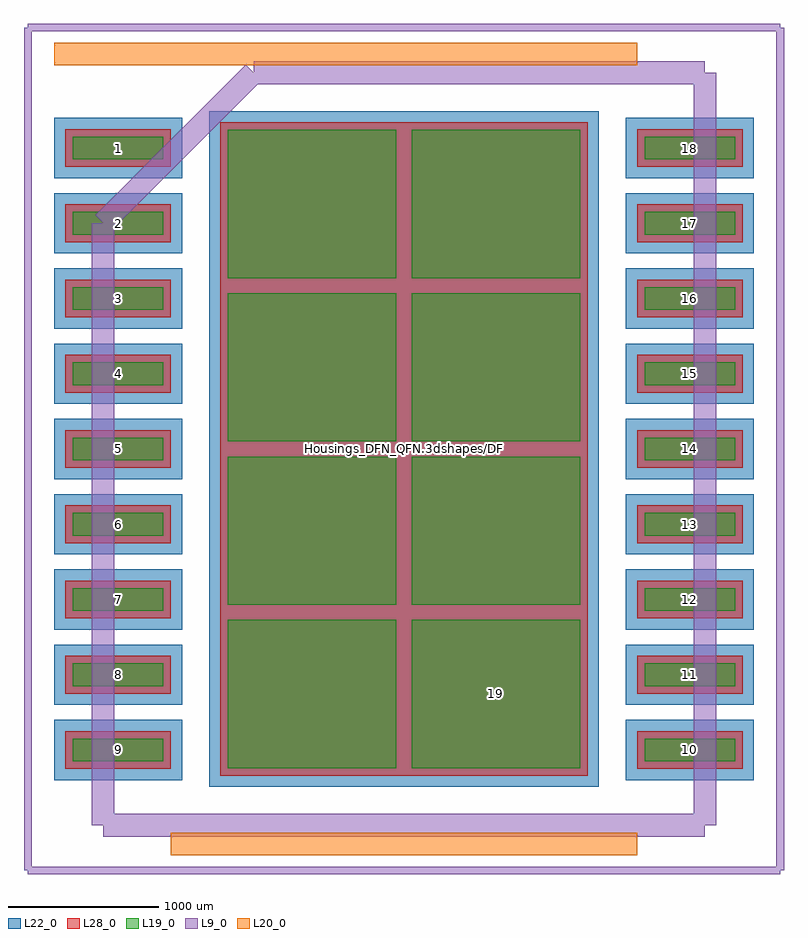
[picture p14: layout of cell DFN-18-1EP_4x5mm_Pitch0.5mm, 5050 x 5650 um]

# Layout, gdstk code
import gdstk
lib = gdstk.Library(unit=1e-6, precision=1e-09)
def R(c, l, rs):  # rectangles x0, y0, x1, y1
    for r in rs: c.add(gdstk.rectangle(r[:2], r[2:], *l))
def A(c, l, x, y, w, h, nx, ny, dx, dy):  # array of equal rectangles
    R(c, l, [(x+i*dx, y+j*dy, x+i*dx+w, y+j*dy+h) for i in range(nx) for j in range(ny)])
L9_0 = (9, 0)
L19_0 = (19, 0)
L20_0 = (20, 0)
L22_0 = (22, 0)
L28_0 = (28, 0)

dfn_18_1ep_4x5mm_pitch0_ = lib.new_cell('DFN-18-1EP_4x5mm_Pitch0.5mm')
A(dfn_18_1ep_4x5mm_pitch0_, L19_0, -1170, -2120, 1120, 985, 1, 4, 0, 1085)
A(dfn_18_1ep_4x5mm_pitch0_, L19_0, 50, -2120, 1120, 985, 1, 4, 0, 1085)
A(dfn_18_1ep_4x5mm_pitch0_, L19_0, -2200, -2075, 600, 150, 1, 9, 0, 500)
A(dfn_18_1ep_4x5mm_pitch0_, L19_0, 1600, -2075, 600, 150, 1, 9, 0, 500)
A(dfn_18_1ep_4x5mm_pitch0_, L22_0, -1295, -2245, 1370, 1235, 1, 4, 0, 1085)
A(dfn_18_1ep_4x5mm_pitch0_, L22_0, -75, -2245, 1370, 1235, 1, 4, 0, 1085)
A(dfn_18_1ep_4x5mm_pitch0_, L22_0, -2325, -2200, 850, 400, 1, 9, 0, 500)
A(dfn_18_1ep_4x5mm_pitch0_, L22_0, 1475, -2200, 850, 400, 1, 9, 0, 500)
A(dfn_18_1ep_4x5mm_pitch0_, L28_0, -1220, -2170, 1220, 1085, 1, 4, 0, 1085)
A(dfn_18_1ep_4x5mm_pitch0_, L28_0, 0, -2170, 1220, 1085, 1, 4, 0, 1085)
A(dfn_18_1ep_4x5mm_pitch0_, L28_0, -2250, -2125, 700, 250, 1, 9, 0, 500)
A(dfn_18_1ep_4x5mm_pitch0_, L28_0, 1550, -2125, 700, 250, 1, 9, 0, 500)
dfn_18_1ep_4x5mm_pitch0_.add(gdstk.FlexPath([(-2325,2625),(1550,2625)], 149.998, ends="flush", simple_path=True, layer=20, datatype=0))  # L20_0
dfn_18_1ep_4x5mm_pitch0_.add(gdstk.FlexPath([(-1550,-2625),(1550,-2625)], 149.998, ends="flush", simple_path=True, layer=20, datatype=0))  # L20_0
dfn_18_1ep_4x5mm_pitch0_.add(gdstk.FlexPath([(-2500,-2800),(2500,-2800)], 50, ends="flush", simple_path=True, layer=9, datatype=0))  # L9_0
dfn_18_1ep_4x5mm_pitch0_.add(gdstk.FlexPath([(-2500,2800),(2500,2800)], 50, ends="flush", simple_path=True, layer=9, datatype=0))  # L9_0
dfn_18_1ep_4x5mm_pitch0_.add(gdstk.FlexPath([(2500,2800),(2500,-2800)], 50, ends="flush", simple_path=True, layer=9, datatype=0))  # L9_0
dfn_18_1ep_4x5mm_pitch0_.add(gdstk.FlexPath([(-2500,2800),(-2500,-2800)], 50, ends="flush", simple_path=True, layer=9, datatype=0))  # L9_0
dfn_18_1ep_4x5mm_pitch0_.add(gdstk.FlexPath([(-2000,1500),(-1000,2500)], 149.998, ends="flush", simple_path=True, layer=9, datatype=0))  # L9_0
dfn_18_1ep_4x5mm_pitch0_.add(gdstk.FlexPath([(-2000,-2500),(-2000,1500)], 149.998, ends="flush", simple_path=True, layer=9, datatype=0))  # L9_0
dfn_18_1ep_4x5mm_pitch0_.add(gdstk.FlexPath([(2000,-2500),(-2000,-2500)], 149.998, ends="flush", simple_path=True, layer=9, datatype=0))  # L9_0
dfn_18_1ep_4x5mm_pitch0_.add(gdstk.FlexPath([(2000,2500),(2000,-2500)], 149.998, ends="flush", simple_path=True, layer=9, datatype=0))  # L9_0
dfn_18_1ep_4x5mm_pitch0_.add(gdstk.FlexPath([(-1000,2500),(2000,2500)], 149.998, ends="flush", simple_path=True, layer=9, datatype=0))  # L9_0
dfn_18_1ep_4x5mm_pitch0_.add(gdstk.Label('Housings_DFN_QFN.3dshapes/DFN-18-1EP_4x5mm_Pitch0.5mm.wrl', (0,0), layer=12, texttype=0))
dfn_18_1ep_4x5mm_pitch0_.add(gdstk.Label('19', (610,-1627.5), layer=28, texttype=0))
dfn_18_1ep_4x5mm_pitch0_.add(gdstk.Label('18', (1900,2000), layer=28, texttype=0))
dfn_18_1ep_4x5mm_pitch0_.add(gdstk.Label('17', (1900,1500), layer=28, texttype=0))
dfn_18_1ep_4x5mm_pitch0_.add(gdstk.Label('16', (1900,1000), layer=28, texttype=0))
dfn_18_1ep_4x5mm_pitch0_.add(gdstk.Label('15', (1900,500), layer=28, texttype=0))
dfn_18_1ep_4x5mm_pitch0_.add(gdstk.Label('14', (1900,0), layer=28, texttype=0))
dfn_18_1ep_4x5mm_pitch0_.add(gdstk.Label('13', (1900,-500), layer=28, texttype=0))
dfn_18_1ep_4x5mm_pitch0_.add(gdstk.Label('12', (1900,-1000), layer=28, texttype=0))
dfn_18_1ep_4x5mm_pitch0_.add(gdstk.Label('11', (1900,-1500), layer=28, texttype=0))
dfn_18_1ep_4x5mm_pitch0_.add(gdstk.Label('10', (1900,-2000), layer=28, texttype=0))
dfn_18_1ep_4x5mm_pitch0_.add(gdstk.Label('9', (-1900,-2000), layer=28, texttype=0))
dfn_18_1ep_4x5mm_pitch0_.add(gdstk.Label('8', (-1900,-1500), layer=28, texttype=0))
dfn_18_1ep_4x5mm_pitch0_.add(gdstk.Label('7', (-1900,-1000), layer=28, texttype=0))
dfn_18_1ep_4x5mm_pitch0_.add(gdstk.Label('6', (-1900,-500), layer=28, texttype=0))
dfn_18_1ep_4x5mm_pitch0_.add(gdstk.Label('5', (-1900,0), layer=28, texttype=0))
dfn_18_1ep_4x5mm_pitch0_.add(gdstk.Label('4', (-1900,500), layer=28, texttype=0))
dfn_18_1ep_4x5mm_pitch0_.add(gdstk.Label('3', (-1900,1000), layer=28, texttype=0))
dfn_18_1ep_4x5mm_pitch0_.add(gdstk.Label('2', (-1900,1500), layer=28, texttype=0))
dfn_18_1ep_4x5mm_pitch0_.add(gdstk.Label('1', (-1900,2000), layer=28, texttype=0))
dfn_18_1ep_4x5mm_pitch0_.add(gdstk.Label('type', (0,-3550), layer=9, texttype=0))
dfn_18_1ep_4x5mm_pitch0_.add(gdstk.Label('devicename', (0,3550), layer=9, texttype=0))

lib.write_gds('DFN-18-1EP_4x5mm_Pitch0.5mm.gds')
